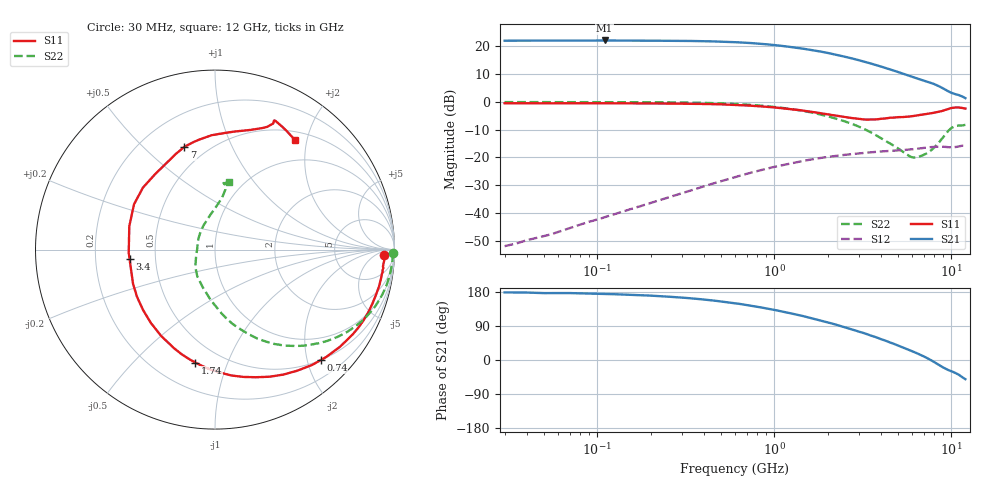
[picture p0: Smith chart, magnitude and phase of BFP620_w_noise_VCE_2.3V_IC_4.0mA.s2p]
! Infineon Technologies  Discrete & RF Semiconductors
! BFP620
! VCE =  2.3 V,  IC =  4.0 mA
! Common Emitter S-Parameters:  Nov 2015
# GHz  S  MA  R  50
!  f  S11  S21  S12  S22
! GHz  MAG  ANG  MAG  ANG  MAG  ANG  MAG  ANG
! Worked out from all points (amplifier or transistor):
!   239 points, 30 MHz to 12 GHz, reference 50 ohm
!   highest |S21| = 22.1 dB at 110 MHz (marker M1)
!   |S21| within 3 dB of that: start of sweep to 1.466 GHz
!   unconditionally stable (mu >= 1): 5.452 GHz to end of sweep
!   at 300 MHz: K = 0.09, MSG = 27.5 dB, |S12| = -33.0 dB
!   at 1.88 GHz: K = 0.44, MSG = 19.0 dB, |S12| = -20.1 dB
!   at 12 GHz: K = 1.27, MAG = 5.5 dB, |S12| = -15.9 dB
!   lowest NFmin = 0.63 dB at 450 MHz
!   S11 on the Smith chart (normalised r, x): 30 MHz: 27, -15; 740 MHz: 0.50, -2.25; 1.74 GHz: 0.36, -0.77; 3.4 GHz: 0.35, -0.05; 7 GHz: 0.38, +0.67; 12 GHz: 0.63, +1.80
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0.03  0.9444 -1.8  12.66 178.4  0.0025 65.9  0.9902 -1.2
0.07  0.9425 -4.4  12.74 176.6  0.0053 80.4  0.9907 -2.9
0.085  0.9408 -5.4  12.72 175.5  0.0065 78.8  0.9903 -3.5
0.11  0.9402 -7.0  12.79 174.0  0.0083 80.2  0.9893 -4.6
0.165  0.9383 -10.4  12.7 171.7  0.0124 80.1  0.9862 -6.9
0.24  0.9325 -15.1  12.62 167.7  0.018 79.2  0.9801 -10.1
0.4  0.9167 -25.4  12.42 159.6  0.03 74.8  0.9588 -16.7
0.6  0.8823 -37.8  11.92 149.8  0.044 68.4  0.9191 -24.6
0.74  0.8517 -46.3  11.47 143.2  0.0529 63.6  0.8824 -29.8
1.1  0.7701 -66.9  10.22 128.2  0.0719 53.0  0.782 -41.7
1.4  0.7069 -82.7  9.264 117.7  0.0842 45.7  0.7001 -50.1
1.64  0.6575 -94.8  8.558 109.9  0.0921 40.6  0.6378 -56.1
1.74  0.6386 -99.8  8.287 106.8  0.095 38.6  0.6126 -58.5
2  0.5951 -112.5  7.625 99.3  0.1016 33.8  0.5495 -64.5
2.42  0.5402 -132.1  6.668 88.3  0.1094 27.3  0.4598 -73.0
2.96  0.4964 -155.7  5.7 75.8  0.1173 20.4  0.3642 -83.3
3.4  0.4789 -173.7  5.051 66.9  0.1221 15.5  0.2968 -92.2
4.5  0.517 150.8  3.851 46.3  0.1304 5.3  0.1779 -123.8
5.5  0.5364 128.6  3.11 30.2  0.1361 -1.6  0.1174 -155.4
7  0.5975 106.6  2.416 9.3  0.1481 -11.4  0.1112 145.5
9  0.6953 73.5  1.745 -19.9  0.155 -27.9  0.2317 89.6
12  0.7559 53.8  1.164 -50.7  0.161 -44.1  0.3853 78.2
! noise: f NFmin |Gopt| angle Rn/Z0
0.45  0.63  0.47  4  0.17
0.9  0.66  0.43  12  0.17
1.9  0.7  0.3  37  0.17
2.4  0.76  0.26  58  0.14
3.5  0.84  0.14  93  0.13
5.5  1.25  0.14  -174  0.13
10  1.94  0.61  -57  0.84
